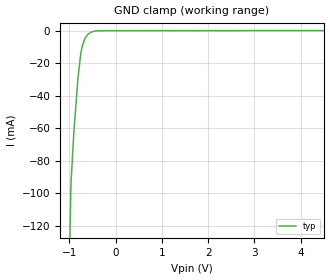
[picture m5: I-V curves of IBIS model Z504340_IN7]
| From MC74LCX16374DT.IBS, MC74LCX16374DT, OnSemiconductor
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| (C) COPYRIGHT 1993-2000
| MENTOR GRAPHICS CORPORATION
| ICX STANDARD LIBRARY, ICX PROJECT MODELING,
| ICX CUSTOM MODELING, ICX VENDOR MODEL
| ALL RIGHTS RESERVED.
| THE FOLLOWING ARE TRADEMARKS OR SERVICE MARKS OF
| MENTOR GRAPHICS CORPORATION:ICX (R), ICX STANDARD
| LIBRARY(R), ICX PROJECT MODELING(R), ICX CUSTOM
| MODELING(R), qualityIBIS(TM), MODELVIEWER(TM),
| AND MODELEDITOR(TM)
| ALL COPIES OF SOFTWARE, INCLUDING BUT NOT LIMITED TO
| ANY MODIFICATIONS, ENHANCEMENTS OR DERIVATIVE WORKS,
| MUST CONTAIN ALL MENTOR GRAPHICS CORPORATION'S
| NOTICES AND LEGENDS, INCLUDING THOSE EMBEDDED IN
| SOFTWARE AND THOSE AFFIXED TO SOFTWARE MEDIUM
| AND CONTAINER, AS RECEIVED FROM MENTOR GRAPHICS
| CORPORATION.
| Model Application Version 1.89 2/18/99.
[Model] Z504340_IN7
Model_type Input
Vinl = 800.0mV
Vinh = 2.000V
C_comp 4.000pF NA NA
| variable typ   min   max
[Voltage Range] 3.300V NA NA
[GND Clamp Reference] 0.000V NA NA
[POWER Clamp Reference] 3.300V NA NA
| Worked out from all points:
|   GND clamp passes 1 mA (typ) near -0.55 V on its own axis
[GND Clamp]
-3.3V     -2.021A    NA         NA
-1.006V   -152.5mA   NA         NA
-966.7mV  -94.55mA   NA         NA
-903.1mV  -62mA      NA         NA
-815.8mV  -29.44mA   NA         NA
-756.3mV  -14.41mA   NA         NA
-722.6mV  -9.351mA   NA         NA
-663.9mV  -4.608mA   NA         NA
-550.6mV  -1.03mA    NA         NA
-429.7mV  11.52uA    NA         NA
-214.8mV  115.3uA    NA         NA
6.6V      243.2uA    NA         NA
[POWER Clamp]
-3.3V     0A         NA         NA
6.6V      0A         NA         NA
